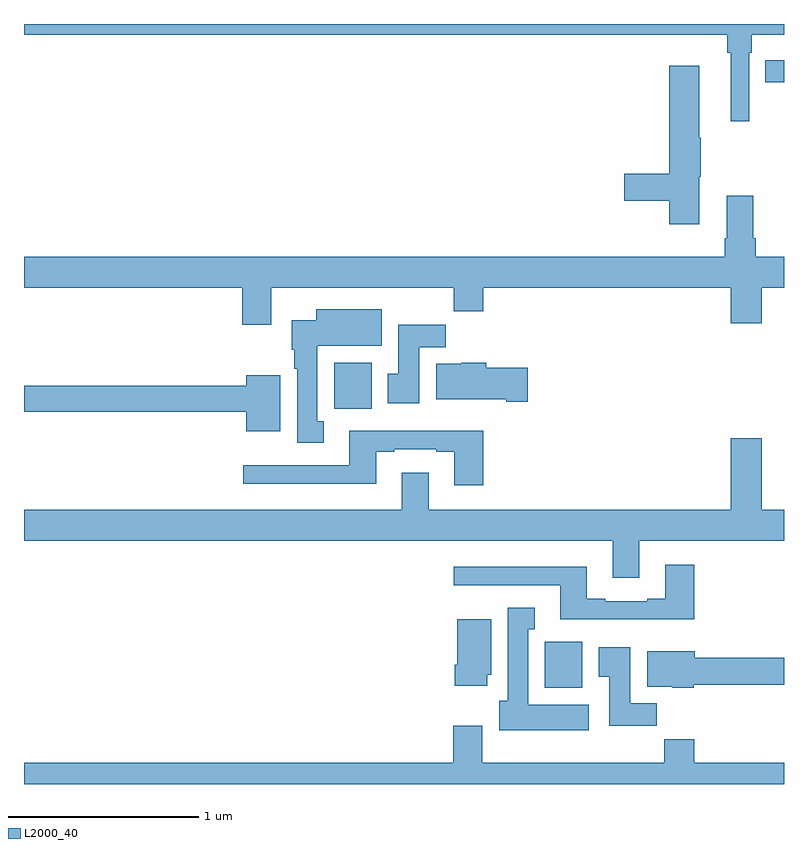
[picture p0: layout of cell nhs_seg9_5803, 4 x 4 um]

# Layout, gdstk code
import gdstk
lib = gdstk.Library(unit=1e-6, precision=1e-09)
def R(c, l, rs):  # rectangles x0, y0, x1, y1
    for r in rs: c.add(gdstk.rectangle(r[:2], r[2:], *l))
def P(c, l, *ps):  # polygons
    for p in ps: c.add(gdstk.Polygon(p, *l))
L2000_40 = (2000, 40)

nhs_seg9_5803 = lib.new_cell('nhs_seg9_5803')
R(nhs_seg9_5803, L2000_40, [(451.742,1169.006,451.939,1169.248), (450.632,1170.476,450.829,1170.718), (452.902,1172.194,453,1172.31)])
P(nhs_seg9_5803, L2000_40, [(452.817,1172.348),(452.831,1172.348),(452.831,1172.444),(453,1172.444),(453,1172.5),(449,1172.5),(449,1172.444),(452.701,1172.444),(452.701,1172.348),(452.72,1172.348),(452.72,1171.989),(452.817,1171.989)],
  [(452.554,1171.695),(452.562,1171.695),(452.562,1171.901),(452.554,1171.901),(452.554,1172.281),(452.396,1172.281),(452.396,1171.712),(452.16,1171.712),(452.16,1171.57),(452.396,1171.57),(452.396,1171.446),(452.554,1171.446)],
  [(450.301,1171.112),(451.261,1171.112),(451.261,1170.988),(451.418,1170.988),(451.418,1171.112),(452.72,1171.112),(452.72,1170.924),(452.884,1170.924),(452.884,1171.112),(453,1171.112),(453,1171.276),(452.852,1171.276),(452.852,1171.372),(452.839,1171.372),(452.839,1171.597),(452.699,1171.597),(452.699,1171.372),(452.687,1171.372),(452.687,1171.276),(449,1171.276),(449,1171.112),(450.149,1171.112),(450.149,1170.918),(450.301,1170.918)],
  [(450.577,1170.41),(450.544,1170.41),(450.544,1170.806),(450.883,1170.806),(450.883,1171),(450.539,1171),(450.539,1170.94),(450.41,1170.94),(450.41,1170.786),(450.422,1170.786),(450.422,1170.686),(450.437,1170.686),(450.437,1170.297),(450.577,1170.297)],
  [(451.081,1170.8),(451.22,1170.8),(451.22,1170.918),(450.971,1170.918),(450.971,1170.66),(450.914,1170.66),(450.914,1170.504),(451.081,1170.504)],
  [(451.651,1170.69),(451.433,1170.69),(451.433,1170.718),(451.302,1170.718),(451.302,1170.712),(451.169,1170.712),(451.169,1170.524),(451.538,1170.524),(451.538,1170.512),(451.651,1170.512)],
  [(450.349,1170.652),(450.17,1170.652),(450.17,1170.596),(449,1170.596),(449,1170.46),(450.17,1170.46),(450.17,1170.356),(450.349,1170.356)],
  [(451.418,1170.358),(450.713,1170.358),(450.713,1170.177),(450.153,1170.177),(450.153,1170.08),(450.853,1170.08),(450.853,1170.249),(450.949,1170.249),(450.949,1170.261),(451.169,1170.261),(451.169,1170.249),(451.265,1170.249),(451.265,1170.072),(451.418,1170.072)],
  [(452.239,1169.78),(453,1169.78),(453,1169.944),(452.884,1169.944),(452.884,1170.319),(452.72,1170.319),(452.72,1169.944),(451.129,1169.944),(451.129,1170.139),(450.989,1170.139),(450.989,1169.944),(449,1169.944),(449,1169.78),(452.099,1169.78),(452.099,1169.586),(452.239,1169.586)],
  [(452.528,1169.653),(452.375,1169.653),(452.375,1169.476),(452.279,1169.476),(452.279,1169.463),(452.059,1169.463),(452.059,1169.476),(451.963,1169.476),(451.963,1169.644),(451.263,1169.644),(451.263,1169.547),(451.823,1169.547),(451.823,1169.366),(452.528,1169.366)],
  [(451.972,1168.918),(451.654,1168.918),(451.654,1169.315),(451.687,1169.315),(451.687,1169.428),(451.547,1169.428),(451.547,1168.938),(451.502,1168.938),(451.502,1168.784),(451.972,1168.784)],
  [(451.438,1169.076),(451.459,1169.076),(451.459,1169.368),(451.28,1169.368),(451.28,1169.128),(451.268,1169.128),(451.268,1169.016),(451.438,1169.016)],
  [(452.33,1168.924),(452.191,1168.924),(452.191,1169.221),(452.024,1169.221),(452.024,1169.065),(452.081,1169.065),(452.081,1168.806),(452.33,1168.806)],
  [(452.526,1169.023),(453,1169.023),(453,1169.165),(452.53,1169.165),(452.53,1169.2),(452.279,1169.2),(452.279,1169.012),(452.412,1169.012),(452.412,1169.006),(452.526,1169.006)],
  [(449,1168.5),(453,1168.5),(453,1168.612),(452.528,1168.612),(452.528,1168.736),(452.371,1168.736),(452.371,1168.612),(451.411,1168.612),(451.411,1168.807),(451.259,1168.807),(451.259,1168.612),(449,1168.612)])

lib.write_gds('nhs_seg9_5803.gds')
